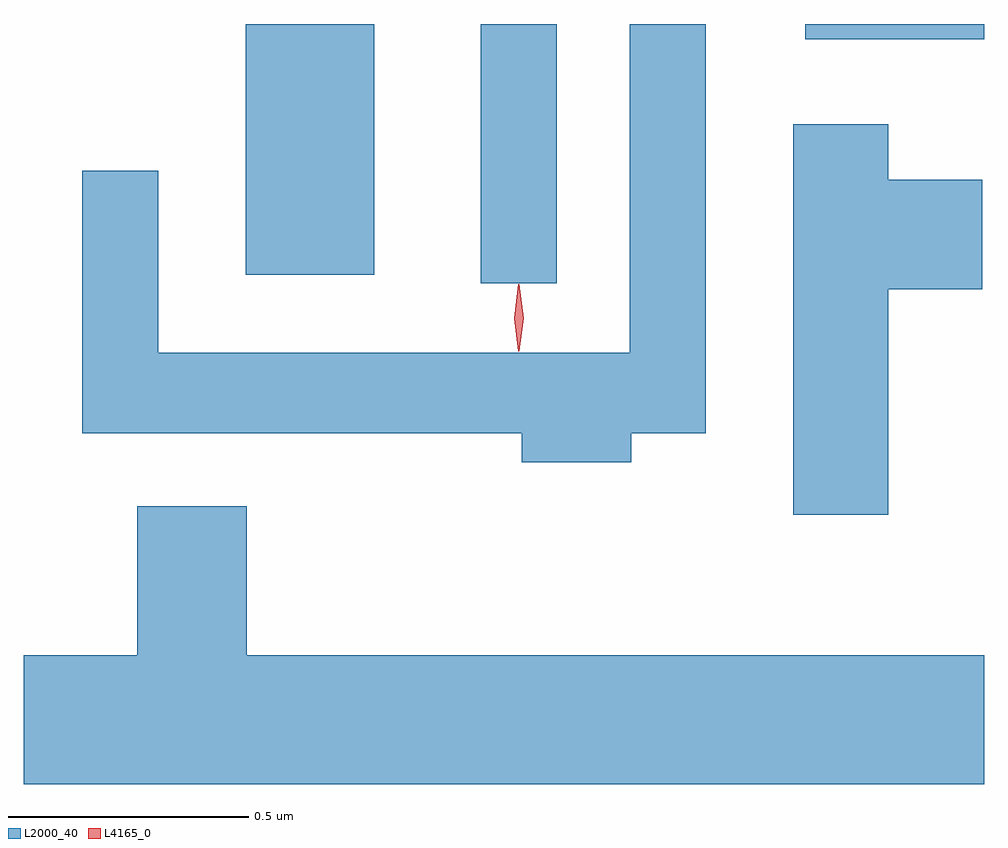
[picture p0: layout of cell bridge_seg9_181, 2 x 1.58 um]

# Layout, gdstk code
import gdstk
lib = gdstk.Library(unit=1e-6, precision=1e-09)
def R(c, l, rs):  # rectangles x0, y0, x1, y1
    for r in rs: c.add(gdstk.rectangle(r[:2], r[2:], *l))
def P(c, l, *ps):  # polygons
    for p in ps: c.add(gdstk.Polygon(p, *l))
L2000_40 = (2000, 40)
L4165_0 = (4165, 0)

bridge_seg9_181 = lib.new_cell('bridge_seg9_181')
R(bridge_seg9_181, L2000_40, [(1410.856,2063.898,1411.014,2064.438), (1410.366,2063.916,1410.634,2064.438), (1411.531,2064.406,1411.904,2064.438)])
P(bridge_seg9_181, L2000_40, [(1411.169,2063.586),(1411.324,2063.586),(1411.324,2064.438),(1411.166,2064.438),(1411.166,2063.754),(1410.184,2063.754),(1410.184,2064.133),(1410.026,2064.133),(1410.026,2063.586),(1410.941,2063.586),(1410.941,2063.526),(1411.169,2063.526)],
  [(1411.704,2063.886),(1411.899,2063.886),(1411.899,2064.114),(1411.704,2064.114),(1411.704,2064.229),(1411.506,2064.229),(1411.506,2063.416),(1411.704,2063.416)],
  [(1411.904,2063.124),(1410.369,2063.124),(1410.369,2063.434),(1410.141,2063.434),(1410.141,2063.124),(1409.904,2063.124),(1409.904,2062.856),(1411.904,2062.856)])
P(bridge_seg9_181, L4165_0, [(1410.934,2063.757),(1410.925,2063.826),(1410.934,2063.896),(1410.935,2063.896),(1410.936,2063.896),(1410.945,2063.826),(1410.936,2063.757),(1410.935,2063.757)],
  [(1410.935,2063.759),(1410.934,2063.76),(1410.925,2063.826),(1410.934,2063.892),(1410.935,2063.893),(1410.935,2063.892),(1410.945,2063.826),(1410.935,2063.76)])

lib.write_gds('bridge_seg9_181.gds')
